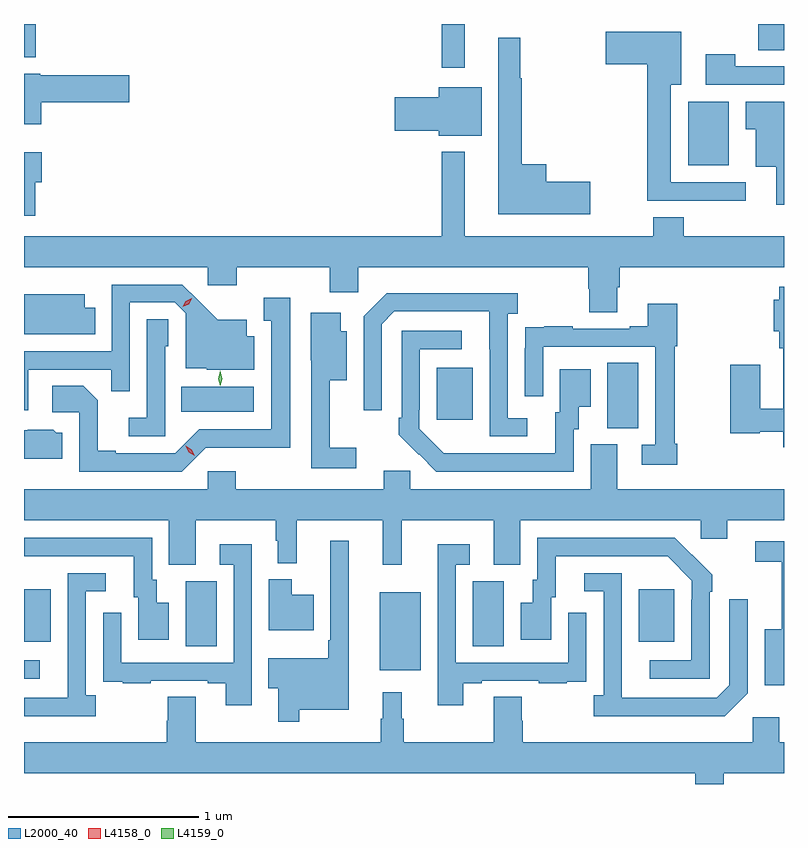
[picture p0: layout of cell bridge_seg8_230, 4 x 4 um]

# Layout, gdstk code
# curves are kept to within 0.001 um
import gdstk
lib = gdstk.Library(unit=1e-6, precision=1e-09)
def R(c, l, rs):  # rectangles x0, y0, x1, y1
    for r in rs: c.add(gdstk.rectangle(r[:2], r[2:], *l))
def P(c, l, *ps):  # polygons
    for p in ps: c.add(gdstk.Polygon(p, *l))
L2000_40 = (2000, 40)
L4158_0 = (4158, 0)
L4159_0 = (4159, 0)

bridge_seg8_230 = lib.new_cell('bridge_seg8_230')
R(bridge_seg8_230, L2000_40, [(121.222,1119.663,121.306,1119.759), (123.095,1119.707,123.31,1120.117), (122.072,1119.832,122.236,1120.176), (123.584,1119.832,123.748,1120.176), (121.222,1119.857,121.363,1120.132), (124.457,1119.857,124.645,1120.132), (124.292,1120.981,124.456,1121.324), (123.395,1121.025,123.583,1121.299), (122.05,1121.066,122.431,1121.2), (124.718,1122.365,124.93,1122.7), (123.42,1122.879,123.541,1123.108), (121.222,1122.932,121.283,1123.108), (125.086,1122.97,125.222,1123.108)])
P(bridge_seg8_230, L2000_40, [(125.02,1122.276),(124.627,1122.276),(124.627,1122.788),(124.681,1122.788),(124.681,1123.066),(124.284,1123.066),(124.284,1122.896),(124.502,1122.896),(124.502,1122.179),(125.02,1122.179)],
  [(124.201,1122.278),(123.97,1122.278),(123.97,1122.37),(123.841,1122.37),(123.841,1122.823),(123.833,1122.823),(123.833,1123.036),(123.719,1123.036),(123.719,1122.107),(124.201,1122.107)],
  [(125.222,1122.885),(124.965,1122.885),(124.965,1122.949),(124.809,1122.949),(124.809,1122.789),(125.222,1122.789)],
  [(121.312,1122.695),(121.777,1122.695),(121.777,1122.837),(121.308,1122.837),(121.308,1122.847),(121.222,1122.847),(121.222,1122.581),(121.312,1122.581)],
  [(123.631,1122.775),(123.404,1122.775),(123.404,1122.723),(123.174,1122.723),(123.174,1122.545),(123.404,1122.545),(123.404,1122.521),(123.631,1122.521)],
  [(125.222,1122.7),(125.021,1122.7),(125.021,1122.554),(125.072,1122.554),(125.072,1122.356),(125.18,1122.356),(125.18,1122.156),(125.222,1122.156)],
  [(124.345,1121.722),(124.358,1121.722),(124.358,1121.828),(125.222,1121.828),(125.222,1121.992),(124.694,1121.992),(124.694,1122.091),(124.534,1122.091),(124.534,1121.992),(123.541,1121.992),(123.541,1122.436),(123.42,1122.436),(123.42,1121.992),(121.222,1121.992),(121.222,1121.828),(122.19,1121.828),(122.19,1121.733),(122.342,1121.733),(122.342,1121.828),(122.831,1121.828),(122.831,1121.697),(122.982,1121.697),(122.982,1121.828),(124.193,1121.828),(124.193,1121.715),(124.198,1121.715),(124.198,1121.59),(124.345,1121.59)],
  [(121.28,1122.275),(121.315,1122.275),(121.315,1122.433),(121.222,1122.433),(121.222,1122.099),(121.28,1122.099)],
  [(121.245,1121.289),(121.681,1121.289),(121.681,1121.176),(121.779,1121.176),(121.779,1121.643),(122.016,1121.643),(122.073,1121.586),(122.073,1121.297),(122.184,1121.297),(122.184,1121.288),(122.434,1121.288),(122.434,1121.464),(122.395,1121.464),(122.395,1121.551),(122.243,1121.551),(122.056,1121.736),(121.683,1121.736),(121.683,1121.385),(121.222,1121.385),(121.222,1121.076),(121.245,1121.076)],
  [(125.222,1121.725),(125.197,1121.725),(125.197,1121.656),(125.168,1121.656),(125.168,1121.491),(125.197,1121.491),(125.197,1121.402),(125.217,1121.402),(125.217,1121.083),(125.098,1121.083),(125.098,1121.314),(124.94,1121.314),(124.94,1120.954),(125.094,1120.954),(125.094,1120.962),(125.217,1120.962),(125.217,1120.881),(125.222,1120.881)],
  [(123.871,1121.034),(123.768,1121.034),(123.768,1121.582),(123.82,1121.582),(123.82,1121.692),(123.13,1121.692),(123.009,1121.571),(123.009,1121.076),(123.105,1121.076),(123.105,1121.529),(123.171,1121.595),(123.671,1121.595),(123.672,1120.938),(123.871,1120.938)],
  [(121.598,1121.614),(121.543,1121.614),(121.543,1121.686),(121.222,1121.686),(121.222,1121.474),(121.598,1121.474)],
  [(122.178,1120.878),(122.623,1120.877),(122.623,1121.668),(122.483,1121.668),(122.483,1121.547),(122.522,1121.547),(122.522,1120.974),(122.145,1120.974),(122.019,1120.848),(121.705,1120.848),(121.705,1120.861),(121.611,1120.861),(121.611,1121.128),(121.535,1121.204),(121.371,1121.204),(121.371,1121.064),(121.512,1121.064),(121.512,1120.752),(122.052,1120.752)],
  [(124.661,1120.9),(124.646,1120.9),(124.646,1121.412),(124.661,1121.412),(124.661,1121.635),(124.505,1121.635),(124.505,1121.518),(124.409,1121.518),(124.409,1121.505),(124.109,1121.505),(124.109,1121.518),(123.961,1121.518),(123.961,1121.511),(123.859,1121.511),(123.859,1121.402),(123.858,1121.402),(123.858,1121.148),(123.954,1121.148),(123.954,1121.409),(124.545,1121.409),(124.545,1120.893),(124.473,1120.893),(124.473,1120.788),(124.661,1120.788)],
  [(122.971,1120.879),(122.831,1120.879),(122.831,1121.234),(122.92,1121.234),(122.92,1121.491),(122.89,1121.491),(122.89,1121.587),(122.732,1121.587),(122.732,1121.338),(122.733,1121.338),(122.733,1120.77),(122.971,1120.77)],
  [(121.965,1121.412),(121.98,1121.412),(121.98,1121.555),(121.869,1121.555),(121.869,1121.035),(121.773,1121.035),(121.773,1120.938),(121.965,1120.938)],
  [(124.116,1120.974),(124.141,1120.974),(124.141,1121.093),(124.204,1121.093),(124.204,1121.29),(124.043,1121.29),(124.043,1121.064),(124.019,1121.064),(124.019,1120.848),(123.432,1120.849),(123.303,1120.977),(123.303,1121.077),(123.306,1121.077),(123.306,1121.397),(123.526,1121.397),(123.526,1121.493),(123.21,1121.493),(123.21,1121.035),(123.195,1121.035),(123.195,1120.947),(123.392,1120.752),(124.116,1120.752)],
  [(121.423,1120.956),(121.392,1120.956),(121.376,1120.972),(121.242,1120.972),(121.242,1120.971),(121.222,1120.971),(121.222,1120.82),(121.423,1120.82)],
  [(122.125,1120.496),(122.547,1120.496),(122.547,1120.389),(122.558,1120.389),(122.558,1120.271),(122.657,1120.271),(122.657,1120.496),(123.11,1120.496),(123.11,1120.263),(123.209,1120.263),(123.209,1120.496),(123.695,1120.496),(123.695,1120.261),(123.835,1120.261),(123.835,1120.496),(124.785,1120.496),(124.785,1120.398),(124.924,1120.398),(124.924,1120.496),(125.222,1120.496),(125.222,1120.66),(124.345,1120.66),(124.345,1120.896),(124.205,1120.896),(124.205,1120.66),(123.255,1120.66),(123.255,1120.758),(123.116,1120.758),(123.116,1120.66),(122.337,1120.66),(122.337,1120.753),(122.19,1120.753),(122.19,1120.66),(121.222,1120.66),(121.222,1120.496),(121.985,1120.496),(121.985,1120.261),(122.125,1120.261)],
  [(124.83,1120.121),(124.845,1120.121),(124.845,1120.209),(124.648,1120.404),(123.924,1120.404),(123.924,1120.182),(123.899,1120.182),(123.899,1120.063),(123.836,1120.063),(123.836,1119.867),(123.997,1119.867),(123.997,1120.092),(124.021,1120.092),(124.021,1120.308),(124.609,1120.308),(124.737,1120.179),(124.737,1120.079),(124.734,1120.079),(124.734,1119.759),(124.515,1119.759),(124.515,1119.663),(124.83,1119.663)],
  [(121.984,1120.063),(121.921,1120.063),(121.921,1120.182),(121.896,1120.182),(121.896,1120.404),(121.222,1120.404),(121.222,1120.308),(121.799,1120.308),(121.799,1120.092),(121.823,1120.092),(121.823,1119.867),(121.984,1119.867)],
  [(122.671,1119.5),(122.932,1119.5),(122.932,1120.387),(122.835,1120.387),(122.835,1119.865),(122.823,1119.865),(122.823,1119.769),(122.508,1119.769),(122.508,1119.611),(122.561,1119.611),(122.561,1119.435),(122.671,1119.435)],
  [(125.222,1120.386),(125.07,1120.386),(125.07,1120.278),(125.21,1120.278),(125.21,1119.922),(125.12,1119.922),(125.12,1119.629),(125.222,1119.629)],
  [(123.535,1119.639),(123.631,1119.639),(123.631,1119.651),(123.931,1119.651),(123.931,1119.639),(124.079,1119.639),(124.079,1119.645),(124.181,1119.645),(124.181,1119.754),(124.182,1119.754),(124.182,1120.009),(124.086,1120.009),(124.086,1119.747),(123.495,1119.747),(123.495,1120.263),(123.568,1120.263),(123.568,1120.369),(123.399,1120.369),(123.399,1119.522),(123.535,1119.522)],
  [(122.421,1120.369),(122.253,1120.369),(122.253,1120.263),(122.325,1120.263),(122.325,1119.747),(121.734,1119.747),(121.734,1120.009),(121.638,1120.009),(121.638,1119.754),(121.639,1119.754),(121.639,1119.645),(121.741,1119.645),(121.741,1119.639),(121.889,1119.639),(121.889,1119.651),(122.189,1119.651),(122.189,1119.639),(122.285,1119.639),(122.285,1119.522),(122.421,1119.522)],
  [(125.031,1119.585),(125.031,1120.081),(124.935,1120.081),(124.935,1119.627),(124.869,1119.561),(124.369,1119.561),(124.368,1120.218),(124.17,1120.218),(124.17,1120.122),(124.272,1120.122),(124.272,1119.574),(124.221,1119.574),(124.221,1119.464),(124.91,1119.464)],
  [(121.6,1119.574),(121.548,1119.574),(121.548,1120.122),(121.651,1120.122),(121.651,1120.218),(121.452,1120.218),(121.452,1119.761),(121.451,1119.761),(121.451,1119.561),(121.222,1119.561),(121.222,1119.464),(121.6,1119.464)],
  [(122.746,1120.105),(122.632,1120.105),(122.632,1120.186),(122.51,1120.186),(122.51,1119.917),(122.746,1119.917)],
  [(124.906,1119.164),(125.222,1119.164),(125.222,1119.328),(125.197,1119.328),(125.197,1119.46),(125.058,1119.46),(125.058,1119.328),(123.848,1119.328),(123.848,1119.441),(123.843,1119.441),(123.843,1119.566),(123.695,1119.566),(123.695,1119.328),(123.22,1119.328),(123.22,1119.452),(123.209,1119.452),(123.209,1119.592),(123.11,1119.592),(123.11,1119.452),(123.099,1119.452),(123.099,1119.328),(122.125,1119.328),(122.125,1119.566),(121.978,1119.566),(121.978,1119.441),(121.973,1119.441),(121.973,1119.328),(121.222,1119.328),(121.222,1119.164),(124.754,1119.164),(124.754,1119.108),(124.906,1119.108)])
P(bridge_seg8_230, L4158_0, [(122.121,1120.836),(122.089,1120.855),(122.072,1120.887),(122.072,1120.888),(122.072,1120.888),(122.104,1120.868),(122.121,1120.836),(122.121,1120.836)],
  [(122.057,1121.619),(122.057,1121.619),(122.074,1121.648),(122.105,1121.664),(122.105,1121.664),(122.105,1121.663),(122.088,1121.634),(122.057,1121.619)])
P(bridge_seg8_230, L4159_0, [(122.254,1121.203),(122.245,1121.242),(122.254,1121.281),(122.255,1121.282),(122.255,1121.281),(122.265,1121.242),(122.255,1121.203),(122.255,1121.203)])

lib.write_gds('bridge_seg8_230.gds')
